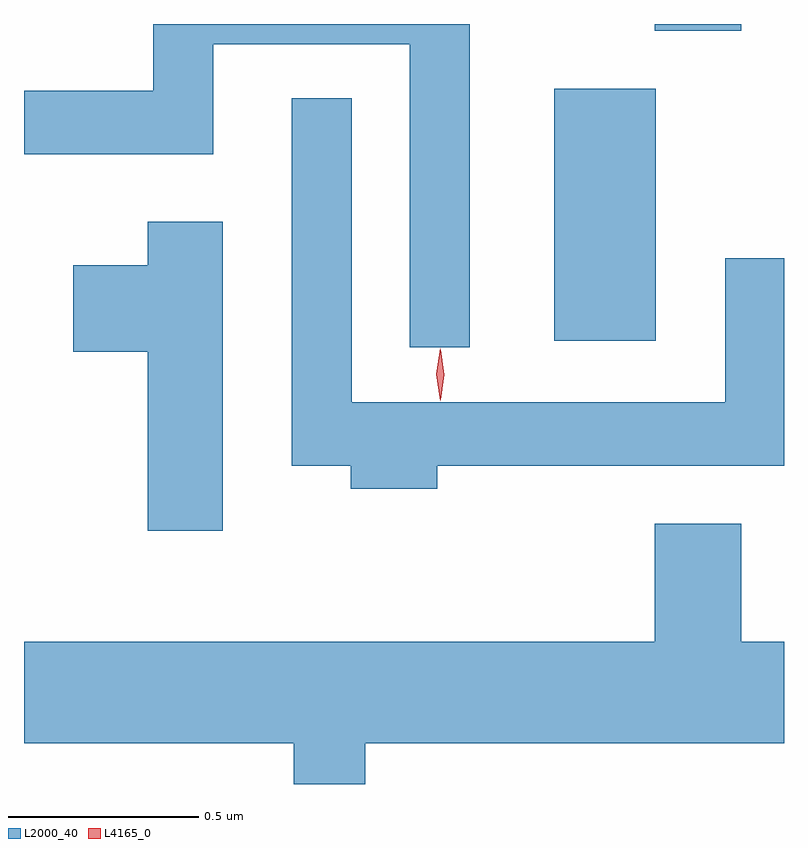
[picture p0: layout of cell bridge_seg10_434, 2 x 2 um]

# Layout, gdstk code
import gdstk
lib = gdstk.Library(unit=1e-6, precision=1e-09)
def R(c, l, rs):  # rectangles x0, y0, x1, y1
    for r in rs: c.add(gdstk.rectangle(r[:2], r[2:], *l))
def P(c, l, *ps):  # polygons
    for p in ps: c.add(gdstk.Polygon(p, *l))
L2000_40 = (2000, 40)
L4165_0 = (4165, 0)

bridge_seg10_434 = lib.new_cell('bridge_seg10_434')
R(bridge_seg10_434, L2000_40, [(1408.136,2121.636,1408.404,2122.299), (1408.401,2122.451,1408.629,2122.469)])
P(bridge_seg10_434, L2000_40, [(1407.914,2122.469),(1407.081,2122.469),(1407.081,2122.294),(1406.741,2122.294),(1406.741,2122.126),(1407.239,2122.126),(1407.239,2122.416),(1407.756,2122.416),(1407.756,2121.618),(1407.914,2121.618)],
  [(1407.829,2121.306),(1408.741,2121.306),(1408.741,2121.853),(1408.586,2121.853),(1408.586,2121.474),(1407.604,2121.474),(1407.604,2122.273),(1407.446,2122.273),(1407.446,2121.306),(1407.601,2121.306),(1407.601,2121.246),(1407.829,2121.246)],
  [(1407.264,2121.949),(1407.066,2121.949),(1407.066,2121.834),(1406.871,2121.834),(1406.871,2121.606),(1407.066,2121.606),(1407.066,2121.136),(1407.264,2121.136)],
  [(1407.639,2120.576),(1408.741,2120.576),(1408.741,2120.844),(1408.629,2120.844),(1408.629,2121.154),(1408.401,2121.154),(1408.401,2120.844),(1406.741,2120.844),(1406.741,2120.576),(1407.451,2120.576),(1407.451,2120.469),(1407.639,2120.469)])
P(bridge_seg10_434, L4165_0, [(1407.837,2121.479),(1407.837,2121.48),(1407.827,2121.546),(1407.836,2121.612),(1407.837,2121.613),(1407.838,2121.612),(1407.847,2121.546),(1407.838,2121.48)],
  [(1407.836,2121.477),(1407.836,2121.477),(1407.826,2121.547),(1407.836,2121.616),(1407.836,2121.616),(1407.836,2121.616),(1407.846,2121.547),(1407.836,2121.477)])

lib.write_gds('bridge_seg10_434.gds')
